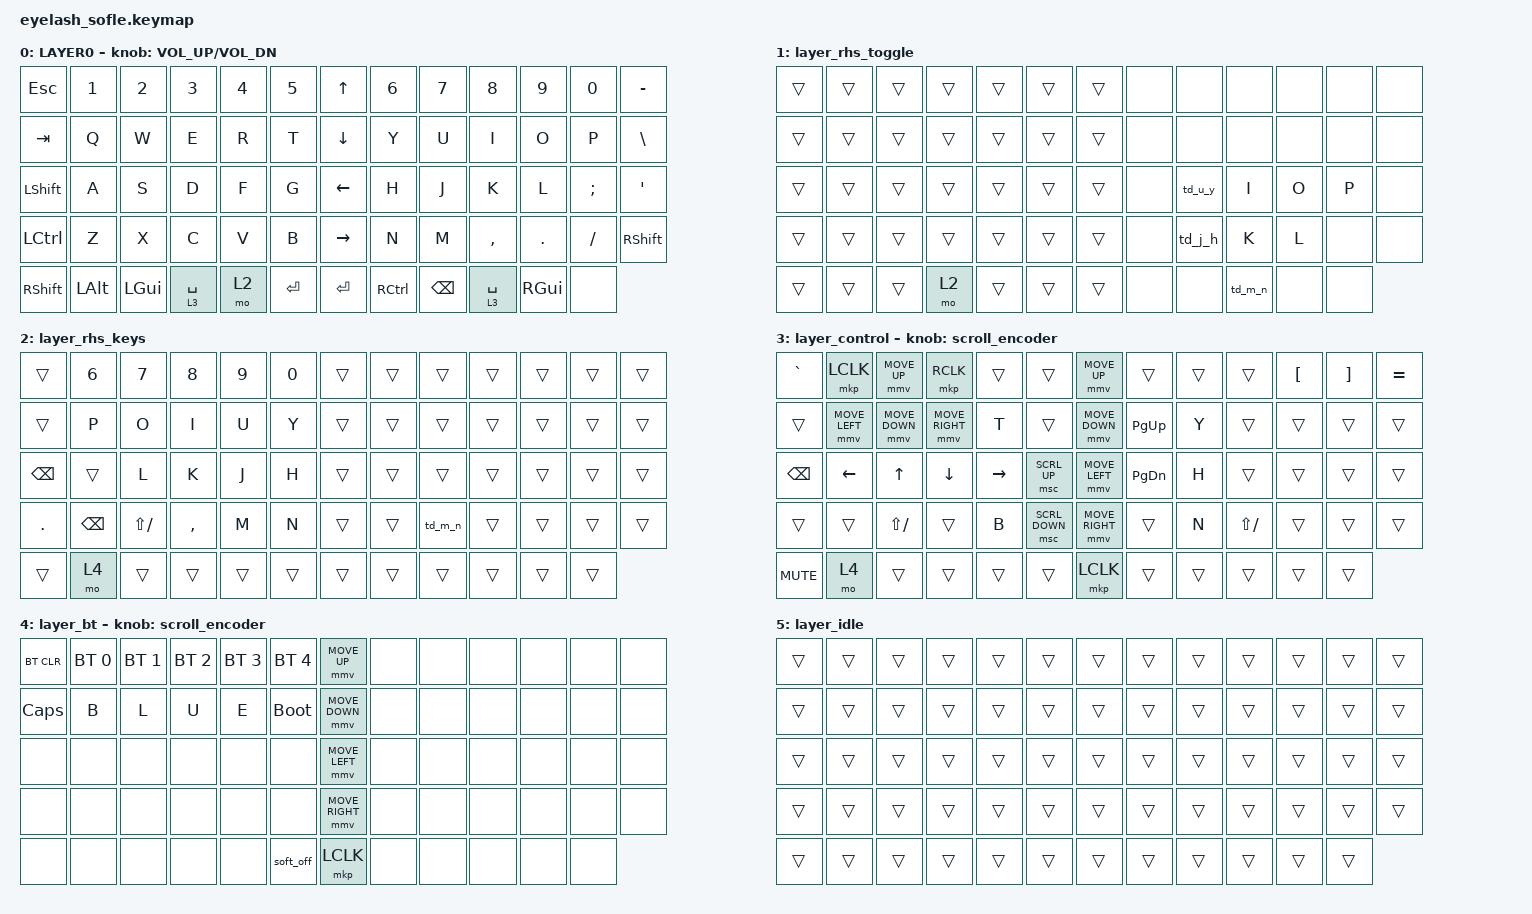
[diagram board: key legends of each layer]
#define ZMK_POINTING_DEFAULT_MOVE_VAL 2400  // 600, 1200
#define ZMK_POINTING_DEFAULT_SCRL_VAL 20   // 10, 25

#include <input/processors.dtsi>
#include <zephyr/dt-bindings/input/input-event-codes.h>
#include <behaviors.dtsi>
#include <dt-bindings/zmk/bt.h>
#include <dt-bindings/zmk/keys.h>
#include <dt-bindings/zmk/pointing.h>

//&mmv_input_listener {
// 默认倍率：原配置是 1倍速
//input-processors = <&zip_xy_scaler 1 1>;
// 档位3：极速 (当处于第7层时，2倍速)
//gear_extreme {
//    layers = <7>;
//    input-processors = <&zip_xy_scaler 6 1>;
//};
// 档位2：快速 (当处于第6层时，1.5倍速)
//gear_fast {
//    layers = <6>;
//    input-processors = <&zip_xy_scaler 5 1>;
//};
//};

&msc_input_listener { input-processors = <&zip_scroll_scaler 1 1>; };

&msc {
    acceleration-exponent = <0>;      // 0
    time-to-max-speed-ms = <1>;       // 5, 300
    delay-ms = <0>;                   // 0
    trigger-period-ms = <1>;
};

&mmv {
    time-to-max-speed-ms = <200>;
    acceleration-exponent = <1>;
    trigger-period-ms = <2>; // 16
};

&soft_off { hold-time-ms = <500>; };

&mt { flavor = "balanced"; };

&lt { tapping-term-ms = <160>; };  // default 200
/ {
    scroll_encoder: scroll_encoder {
        compatible = "zmk,behavior-sensor-rotate";
        #sensor-binding-cells = <0>;
        bindings = <&msc SCRL_DOWN>, <&msc SCRL_UP>;

        tap-ms = <100>;
    };

    behaviors {
        td_u_y: tap_dance_u_y {
            compatible = "zmk,behavior-tap-dance";
            #binding-cells = <0>;
            tapping-term-ms = <300>;
            bindings = <&kp U>, <&kp Y>;
        };

        td_j_h: tap_dance_j_h {
            compatible = "zmk,behavior-tap-dance";
            #binding-cells = <0>;
            tapping-term-ms = <300>;
            bindings = <&kp J>, <&kp H>;
        };

        td_m_n: tap_dance_m_n {
            compatible = "zmk,behavior-tap-dance";
            #binding-cells = <0>;
            tapping-term-ms = <300>;
            bindings = <&kp M>, <&kp N>;
        };

        td_r_t: tap_dance_r_t {
            compatible = "zmk,behavior-tap-dance";
            #binding-cells = <0>;
            tapping-term-ms = <300>;
            bindings = <&kp R>, <&kp T>;
        };

        td_f_g: tap_dance_f_g {
            compatible = "zmk,behavior-tap-dance";
            #binding-cells = <0>;
            tapping-term-ms = <300>;
            bindings = <&kp F>, <&kp G>;
        };

        td_v_b: tap_dance_v_b {
            compatible = "zmk,behavior-tap-dance";
            #binding-cells = <0>;
            tapping-term-ms = <300>;
            bindings = <&kp V>, <&kp B>;
        };
    };

    combos {
        compatible = "zmk,combos";

        kpt {
            bindings = <&kp T>;
            key-positions = <16 17>;
            timeout-ms = <70>;
            layers = <0>;
        };

        kpg {
            bindings = <&kp G>;
            key-positions = <29 30>;
            timeout-ms = <70>;
            layers = <0>;
        };

        kpb {
            bindings = <&kp B>;
            key-positions = <42 43>;
            timeout-ms = <70>;
            layers = <0>;
        };

        kpt2 {
            bindings = <&kp T>;
            key-positions = <15 16>;
            timeout-ms = <70>;
            layers = <0>;
        };

        kpg2 {
            bindings = <&kp G>;
            key-positions = <28 29>;
            timeout-ms = <70>;
            layers = <0>;
        };

        kpb2 {
            bindings = <&kp B>;
            key-positions = <41 42>;
            timeout-ms = <70>;
            layers = <0>;
        };

        kpy {
            bindings = <&kp Y>;
            key-positions = <16 17>;
            timeout-ms = <70>;
            layers = <2>;
        };

        kph {
            bindings = <&kp H>;
            key-positions = <29 30>;
            timeout-ms = <70>;
            layers = <2>;
        };

        kpn {
            bindings = <&kp N>;
            key-positions = <42 43>;
            timeout-ms = <70>;
            layers = <2>;
        };

        kpy2 {
            bindings = <&kp Y>;
            key-positions = <15 16>;
            timeout-ms = <70>;
            layers = <2>;
        };

        kph2 {
            bindings = <&kp H>;
            key-positions = <28 29>;
            timeout-ms = <70>;
            layers = <2>;
        };

        kpn2 {
            bindings = <&kp N>;
            key-positions = <41 42>;
            timeout-ms = <70>;
            layers = <2>;
        };

        toggle_control {
            bindings = <&tog 3>;
            key-positions = <56 43 42>;
            timeout-ms = <400>;
            require-prior-idle-ms = <800>;
        };

        kpn3 {
            bindings = <&kp N>;
            key-positions = <47 48>;
            timeout-ms = <70>;
            layers = <0>;
        };

        kph3 {
            bindings = <&kp H>;
            key-positions = <34 35>;
            timeout-ms = <70>;
            layers = <0>;
        };

        kpy3 {
            bindings = <&kp Y>;
            key-positions = <21 22>;
            timeout-ms = <50>;
            layers = <0>;
        };

        kpn4 {
            bindings = <&kp N>;
            key-positions = <48 49>;
            timeout-ms = <70>;
            layers = <0>;
        };

        kph4 {
            bindings = <&kp H>;
            key-positions = <35 36>;
            timeout-ms = <70>;
            layers = <0>;
        };

        kpy4 {
            bindings = <&kp Y>;
            key-positions = <22 23>;
            timeout-ms = <70>;
            layers = <0>;
        };

        mouse_fast {
            bindings = <&tog 6>;
            key-positions = <56 27>;
            require-prior-idle-ms = <500>;
            timeout-ms = <60>;
        };

        mouse_xfast {
            bindings = <&tog 7>;
            key-positions = <56 28>;
            require-prior-idle-ms = <500>;
            timeout-ms = <60>;
        };
    };

    macros {
        SHIFT_MCLK: SHIFT_MCLK {
            compatible = "zmk,behavior-macro";
            #binding-cells = <0>;
            bindings =
                <&macro_press>,
                <&kp LEFT_SHIFT>,
                <&macro_press>,
                <&mkp MB3>,
                <&macro_pause_for_release>,
                <&macro_release>,
                <&kp LEFT_SHIFT &mkp MB3>;

            label = "SHIFT_MCLK";
        };
    };

    keymap {
        compatible = "zmk,keymap";

        layer0 {
            bindings = <
&kp ESC    &kp N1    &kp N2    &kp N3       &kp N4  &kp N5     &kp UP_ARROW     &kp N6     &kp N7    &kp N8       &kp N9    &kp N0    &kp MINUS
&kp TAB    &kp Q     &kp W     &kp E        &kp R   &kp T      &kp DOWN_ARROW   &kp Y      &kp U     &kp I        &kp O     &kp P     &kp BSLH
&kp LSHFT  &kp A     &kp S     &kp D        &kp F   &kp G      &kp LEFT_ARROW   &kp H      &kp J     &kp K        &kp L     &kp SEMI  &kp APOS
&kp LCTRL  &kp Z     &kp X     &kp C        &kp V   &kp B      &kp RIGHT_ARROW  &kp N      &kp M     &kp COMMA    &kp DOT   &kp FSLH  &kp RSHFT
&kp RSHFT  &kp LALT  &kp LGUI  &lt 3 SPACE  &mo 2   &kp RET    &kp ENTER        &kp RCTRL  &kp BSPC  &lt 3 SPACE  &kp RGUI  &none
            >;

            sensor-bindings = <&inc_dec_kp C_VOLUME_UP C_VOL_DN>;
            display-name = "LAYER0";
        };

        layer_rhs_toggle {
            bindings = <
&trans  &trans  &trans  &trans  &trans  &trans    &trans  &none  &none    &none    &none  &none  &none
&trans  &trans  &trans  &trans  &trans  &trans    &trans  &none  &none    &none    &none  &none  &none
&trans  &trans  &trans  &trans  &trans  &trans    &trans  &none  &td_u_y  &kp I    &kp O  &kp P  &none
&trans  &trans  &trans  &trans  &trans  &trans    &trans  &none  &td_j_h  &kp K    &kp L  &none  &none
&trans  &trans  &trans  &mo 2   &trans  &trans    &trans  &none  &none    &td_m_n  &none  &none
            >;
        };

        layer_rhs_keys {
            bindings = <
&trans    &kp N6    &kp N7        &kp N8     &kp N9  &kp N0    &trans  &trans  &trans   &trans  &trans  &trans  &trans
&trans    &kp P     &kp O         &kp I      &kp U   &kp Y     &trans  &trans  &trans   &trans  &trans  &trans  &trans
&kp BSPC  &trans    &kp L         &kp K      &kp J   &kp H     &trans  &trans  &trans   &trans  &trans  &trans  &trans
&kp DOT   &kp BSPC  &kp LS(FSLH)  &kp COMMA  &kp M   &kp N     &trans  &trans  &td_m_n  &trans  &trans  &trans  &trans
&trans    &mo 4     &trans        &trans     &trans  &trans    &trans  &trans  &trans   &trans  &trans  &trans
            >;
        };

        layer_control {
            bindings = <
&kp GRAVE   &mkp LCLK       &mmv MOVE_UP    &mkp RCLK        &trans     &trans            &mmv MOVE_UP     &trans     &trans  &trans         &kp LBKT  &kp RBKT  &kp EQUAL
&trans      &mmv MOVE_LEFT  &mmv MOVE_DOWN  &mmv MOVE_RIGHT  &kp T      &trans            &mmv MOVE_DOWN   &kp PG_UP  &kp Y   &trans         &trans    &trans    &trans
&kp BSPC    &kp LEFT        &kp UP          &kp DOWN         &kp RIGHT  &msc SCRL_UP      &mmv MOVE_LEFT   &kp PG_DN  &kp H   &trans         &trans    &trans    &trans
&trans      &trans          &kp LS(SLASH)   &trans           &kp B      &msc SCRL_DOWN    &mmv MOVE_RIGHT  &trans     &kp N   &kp LS(SLASH)  &trans    &trans    &trans
&kp C_MUTE  &mo 4           &trans          &trans           &trans     &trans            &mkp LCLK        &trans     &trans  &trans         &trans    &trans
            >;

            display-name = "layer_control";
            sensor-bindings = <&scroll_encoder>;
        };

        layer_bt {
            bindings = <
&bt BT_CLR  &bt BT_SEL 0  &bt BT_SEL 1  &bt BT_SEL 2  &bt BT_SEL 3  &bt BT_SEL 4    &mmv MOVE_UP     &none  &none  &none  &none  &none  &none
&kp CAPS    &kp B         &kp L         &kp U         &kp E         &bootloader     &mmv MOVE_DOWN   &none  &none  &none  &none  &none  &none
&none       &none         &none         &none         &none         &none           &mmv MOVE_LEFT   &none  &none  &none  &none  &none  &none
&none       &none         &none         &none         &none         &none           &mmv MOVE_RIGHT  &none  &none  &none  &none  &none  &none
&none       &none         &none         &none         &none         &soft_off       &mkp LCLK        &none  &none  &none  &none  &none
            >;

            display-name = "layer_bt";
            sensor-bindings = <&scroll_encoder>;
        };

        layer_idle {
            bindings = <
&trans  &trans  &trans  &trans  &trans  &trans    &trans  &trans  &trans  &trans  &trans  &trans  &trans
&trans  &trans  &trans  &trans  &trans  &trans    &trans  &trans  &trans  &trans  &trans  &trans  &trans
&trans  &trans  &trans  &trans  &trans  &trans    &trans  &trans  &trans  &trans  &trans  &trans  &trans
&trans  &trans  &trans  &trans  &trans  &trans    &trans  &trans  &trans  &trans  &trans  &trans  &trans
&trans  &trans  &trans  &trans  &trans  &trans    &trans  &trans  &trans  &trans  &trans  &trans
            >;
        };
    };
};
